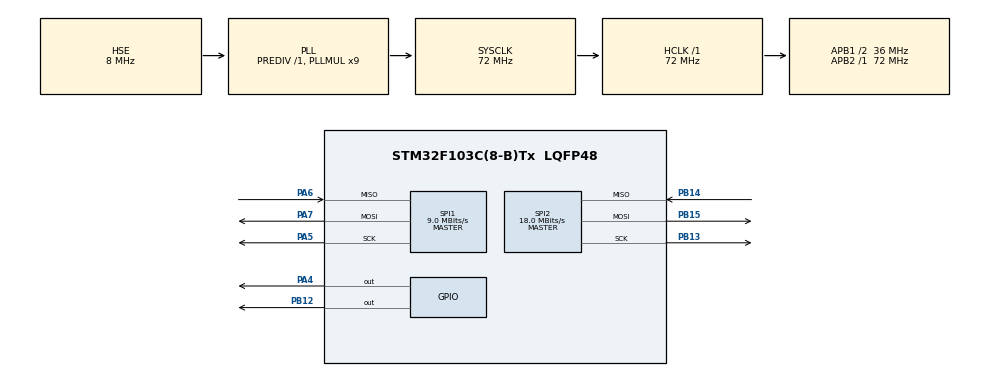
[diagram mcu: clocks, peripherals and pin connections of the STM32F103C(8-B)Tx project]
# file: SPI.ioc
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Mcu.Family=STM32F1
Mcu.Name=STM32F103C(8-B)Tx
Mcu.Package=LQFP48
NVIC.PriorityGroup=NVIC_PRIORITYGROUP_4
PA4.Signal=GPIO_Output
PA5.Mode=Full_Duplex_Master
PA5.Signal=SPI1_SCK
PA6.Mode=Full_Duplex_Master
PA6.Signal=SPI1_MISO
PA7.Mode=Full_Duplex_Master
PA7.Signal=SPI1_MOSI
PB12.Signal=GPIO_Output
PB13.Mode=Full_Duplex_Master
PB13.Signal=SPI2_SCK
PB14.Mode=Full_Duplex_Master
PB14.Signal=SPI2_MISO
PB15.Mode=Full_Duplex_Master
PB15.Signal=SPI2_MOSI
PC14-OSC32_IN.Mode=LSE-External-Oscillator
PC14-OSC32_IN.Signal=RCC_OSC32_IN
PC15-OSC32_OUT.Mode=LSE-External-Oscillator
PC15-OSC32_OUT.Signal=RCC_OSC32_OUT
PD0-OSC_IN.Mode=HSE-External-Oscillator
PD0-OSC_IN.Signal=RCC_OSC_IN
PD1-OSC_OUT.Mode=HSE-External-Oscillator
PD1-OSC_OUT.Signal=RCC_OSC_OUT
ProjectManager.HeapSize=0x200
ProjectManager.StackSize=0x400
ProjectManager.TargetToolchain=STM32CubeIDE
RCC.AHBFreq_Value=72000000
RCC.APB1CLKDivider=RCC_HCLK_DIV2
RCC.APB1Freq_Value=36000000
RCC.APB1TimFreq_Value=72000000
RCC.APB2Freq_Value=72000000
RCC.APB2TimFreq_Value=72000000
RCC.HCLKFreq_Value=72000000
RCC.PLLMUL=RCC_PLL_MUL9
RCC.PLLSourceVirtual=RCC_PLLSOURCE_HSE
RCC.SYSCLKFreq_VALUE=72000000
RCC.SYSCLKSource=RCC_SYSCLKSOURCE_PLLCLK
RCC.USBFreq_Value=72000000
SPI1.BaudRatePrescaler=SPI_BAUDRATEPRESCALER_8
SPI1.CalculateBaudRate=9.0 MBits/s
SPI1.Direction=SPI_DIRECTION_2LINES
SPI1.Mode=SPI_MODE_MASTER
SPI1.VirtualType=VM_MASTER
SPI2.CalculateBaudRate=18.0 MBits/s
SPI2.Direction=SPI_DIRECTION_2LINES
SPI2.Mode=SPI_MODE_MASTER
SPI2.VirtualType=VM_MASTER
VP_SYS_VS_ND.Mode=No_Debug
board=custom

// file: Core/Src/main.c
/* USER CODE BEGIN Header */
/**
  ******************************************************************************
  * @file           : main.c
  * @brief          : Main program body
  ******************************************************************************
  * @attention
  *
  * Copyright (c) 2025 STMicroelectronics.
  * All rights reserved.
  *
  * This software is licensed under terms that can be found in the LICENSE file
  * in the root directory of this software component.
  * If no LICENSE file comes with this software, it is provided AS-IS.
  *
  ******************************************************************************
  */
/* USER CODE END Header */
#include "main.h"

/* USER CODE BEGIN Includes */
#include <stdio.h>
#include <string.h>
#include <stdint.h>
/* USER CODE END Includes */

/* USER CODE BEGIN PD */
// NSS pin definitions
#define SPI1_NSS_PORT GPIOA
#define SPI1_NSS_PIN  GPIO_PIN_4
#define SPI2_NSS_PORT GPIOB
#define SPI2_NSS_PIN  GPIO_PIN_12

// Common SPI device register addresses to test
#define WHO_AM_I_REG    0x0F
#define DEVICE_ID_REG   0x00
#define STATUS_REG      0x07
/* USER CODE END PD */

SPI_HandleTypeDef hspi1;
SPI_HandleTypeDef hspi2;

/* USER CODE BEGIN PV */
typedef struct {
    uint8_t device_id;
    uint8_t who_am_i;
    uint8_t status;
    uint8_t responsive;
} SPI_Device_Info;

SPI_Device_Info spi1_device;
SPI_Device_Info spi2_device;
char debug_output[256];
/* USER CODE END PV */

void SystemClock_Config(void);
static void MX_GPIO_Init(void);
static void MX_SPI1_Init(void);
static void MX_SPI2_Init(void);

/* USER CODE BEGIN 0 */

uint8_t SPI_ReadRegister(SPI_HandleTypeDef *hspi, GPIO_TypeDef *nss_port, uint16_t nss_pin, uint8_t reg_addr)
{
    uint8_t tx_data[2] = {reg_addr | 0x80, 0x00};  // Set read bit (MSB)
    uint8_t rx_data[2] = {0};

    HAL_GPIO_WritePin(nss_port, nss_pin, GPIO_PIN_RESET);  // CS Low
    HAL_Delay(1);
    HAL_SPI_TransmitReceive(hspi, tx_data, rx_data, 2, 100);
    HAL_GPIO_WritePin(nss_port, nss_pin, GPIO_PIN_SET);    // CS High

    return rx_data[1];
}

void SPI_ScanDevice(SPI_HandleTypeDef *hspi, GPIO_TypeDef *nss_port, uint16_t nss_pin,
                    SPI_Device_Info *dev_info, const char *bus_name)
{
    memset(dev_info, 0, sizeof(SPI_Device_Info));

    sprintf(debug_output, "\r\n--- Scanning %s ---\r\n", bus_name);

    // Try reading common registers
    dev_info->device_id = SPI_ReadRegister(hspi, nss_port, nss_pin, DEVICE_ID_REG);
    HAL_Delay(5);

    dev_info->who_am_i = SPI_ReadRegister(hspi, nss_port, nss_pin, WHO_AM_I_REG);
    HAL_Delay(5);

    dev_info->status = SPI_ReadRegister(hspi, nss_port, nss_pin, STATUS_REG);
    HAL_Delay(5);

    // Check if device is responsive (not all 0x00 or all 0xFF)
    if ((dev_info->device_id != 0x00 && dev_info->device_id != 0xFF) ||
        (dev_info->who_am_i != 0x00 && dev_info->who_am_i != 0xFF) ||
        (dev_info->status != 0x00 && dev_info->status != 0xFF))
    {
        dev_info->responsive = 1;
        sprintf(debug_output, "%s: Device detected!\r\n  Device ID: 0x%02X\r\n  WHO_AM_I: 0x%02X\r\n  Status: 0x%02X\r\n",
                bus_name, dev_info->device_id, dev_info->who_am_i, dev_info->status);
    }
    else
    {
        sprintf(debug_output, "%s: No device detected or not responding\r\n", bus_name);
    }
}

/* USER CODE END 0 */

int main(void)
{

  /* MCU Configuration--------------------------------------------------------*/

  /* Reset of all peripherals, Initializes the Flash interface and the Systick. */
  HAL_Init();

  /* Configure the system clock */
  SystemClock_Config();

  /* Initialize all configured peripherals */
  MX_GPIO_Init();
  MX_SPI1_Init();
  MX_SPI2_Init();
  /* USER CODE BEGIN 2 */

  // Scan SPI buses for connected devices
  SPI_ScanDevice(&hspi1, SPI1_NSS_PORT, SPI1_NSS_PIN, &spi1_device, "SPI1");
  HAL_Delay(100);

  SPI_ScanDevice(&hspi2, SPI2_NSS_PORT, SPI2_NSS_PIN, &spi2_device, "SPI2");
  HAL_Delay(100);

  /* USER CODE END 2 */

  /* Infinite loop */
  while (1)
  {

  }
}

void SystemClock_Config(void)
{
  RCC_OscInitTypeDef RCC_OscInitStruct = {0};
  RCC_ClkInitTypeDef RCC_ClkInitStruct = {0};

  /** Initializes the RCC Oscillators according to the specified parameters
  * in the RCC_OscInitTypeDef structure.
  */
  RCC_OscInitStruct.OscillatorType = RCC_OSCILLATORTYPE_HSE;
  RCC_OscInitStruct.HSEState = RCC_HSE_ON;
  RCC_OscInitStruct.HSEPredivValue = RCC_HSE_PREDIV_DIV1;
  RCC_OscInitStruct.HSIState = RCC_HSI_ON;
  RCC_OscInitStruct.PLL.PLLState = RCC_PLL_ON;
  RCC_OscInitStruct.PLL.PLLSource = RCC_PLLSOURCE_HSE;
  RCC_OscInitStruct.PLL.PLLMUL = RCC_PLL_MUL9;
  if (HAL_RCC_OscConfig(&RCC_OscInitStruct) != HAL_OK)
  {
    Error_Handler();
  }

  /** Initializes the CPU, AHB and APB buses clocks
  */
  RCC_ClkInitStruct.ClockType = RCC_CLOCKTYPE_HCLK|RCC_CLOCKTYPE_SYSCLK
                              |RCC_CLOCKTYPE_PCLK1|RCC_CLOCKTYPE_PCLK2;
  RCC_ClkInitStruct.SYSCLKSource = RCC_SYSCLKSOURCE_PLLCLK;
  RCC_ClkInitStruct.AHBCLKDivider = RCC_SYSCLK_DIV1;
  RCC_ClkInitStruct.APB1CLKDivider = RCC_HCLK_DIV2;
  RCC_ClkInitStruct.APB2CLKDivider = RCC_HCLK_DIV1;

  if (HAL_RCC_ClockConfig(&RCC_ClkInitStruct, FLASH_LATENCY_2) != HAL_OK)
  {
    Error_Handler();
  }
}

static void MX_SPI1_Init(void)
{

  /* SPI1 parameter configuration*/
  hspi1.Instance = SPI1;
  hspi1.Init.Mode = SPI_MODE_MASTER;
  hspi1.Init.Direction = SPI_DIRECTION_2LINES;
  hspi1.Init.DataSize = SPI_DATASIZE_8BIT;
  hspi1.Init.CLKPolarity = SPI_POLARITY_LOW;
  hspi1.Init.CLKPhase = SPI_PHASE_1EDGE;
  hspi1.Init.NSS = SPI_NSS_SOFT;
  hspi1.Init.BaudRatePrescaler = SPI_BAUDRATEPRESCALER_8;
  hspi1.Init.FirstBit = SPI_FIRSTBIT_MSB;
  hspi1.Init.TIMode = SPI_TIMODE_DISABLE;
  hspi1.Init.CRCCalculation = SPI_CRCCALCULATION_DISABLE;
  hspi1.Init.CRCPolynomial = 10;
  if (HAL_SPI_Init(&hspi1) != HAL_OK)
  {
    Error_Handler();
  }

}

static void MX_SPI2_Init(void)
{

  /* SPI2 parameter configuration*/
  hspi2.Instance = SPI2;
  hspi2.Init.Mode = SPI_MODE_MASTER;
  hspi2.Init.Direction = SPI_DIRECTION_2LINES;
  hspi2.Init.DataSize = SPI_DATASIZE_8BIT;
  hspi2.Init.CLKPolarity = SPI_POLARITY_LOW;
  hspi2.Init.CLKPhase = SPI_PHASE_1EDGE;
  hspi2.Init.NSS = SPI_NSS_SOFT;
  hspi2.Init.BaudRatePrescaler = SPI_BAUDRATEPRESCALER_2;
  hspi2.Init.FirstBit = SPI_FIRSTBIT_MSB;
  hspi2.Init.TIMode = SPI_TIMODE_DISABLE;
  hspi2.Init.CRCCalculation = SPI_CRCCALCULATION_DISABLE;
  hspi2.Init.CRCPolynomial = 10;
  if (HAL_SPI_Init(&hspi2) != HAL_OK)
  {
    Error_Handler();
  }

}

static void MX_GPIO_Init(void)
{
  GPIO_InitTypeDef GPIO_InitStruct = {0};

  /* GPIO Ports Clock Enable */
  __HAL_RCC_GPIOC_CLK_ENABLE();
  __HAL_RCC_GPIOD_CLK_ENABLE();
  __HAL_RCC_GPIOA_CLK_ENABLE();
  __HAL_RCC_GPIOB_CLK_ENABLE();

  /*Configure GPIO pin Output Level */
  HAL_GPIO_WritePin(GPIOA, GPIO_PIN_4, GPIO_PIN_RESET);

  /*Configure GPIO pin Output Level */
  HAL_GPIO_WritePin(GPIOB, GPIO_PIN_12, GPIO_PIN_RESET);

  /*Configure GPIO pin : PA4 */
  GPIO_InitStruct.Pin = GPIO_PIN_4;
  GPIO_InitStruct.Mode = GPIO_MODE_OUTPUT_PP;
  GPIO_InitStruct.Pull = GPIO_NOPULL;
  GPIO_InitStruct.Speed = GPIO_SPEED_FREQ_LOW;
  HAL_GPIO_Init(GPIOA, &GPIO_InitStruct);

  /*Configure GPIO pin : PB12 */
  GPIO_InitStruct.Pin = GPIO_PIN_12;
  GPIO_InitStruct.Mode = GPIO_MODE_OUTPUT_PP;
  GPIO_InitStruct.Pull = GPIO_NOPULL;
  GPIO_InitStruct.Speed = GPIO_SPEED_FREQ_LOW;
  HAL_GPIO_Init(GPIOB, &GPIO_InitStruct);

}

void Error_Handler(void)
{
  __disable_irq();
  while (1)
  {
  }
}
